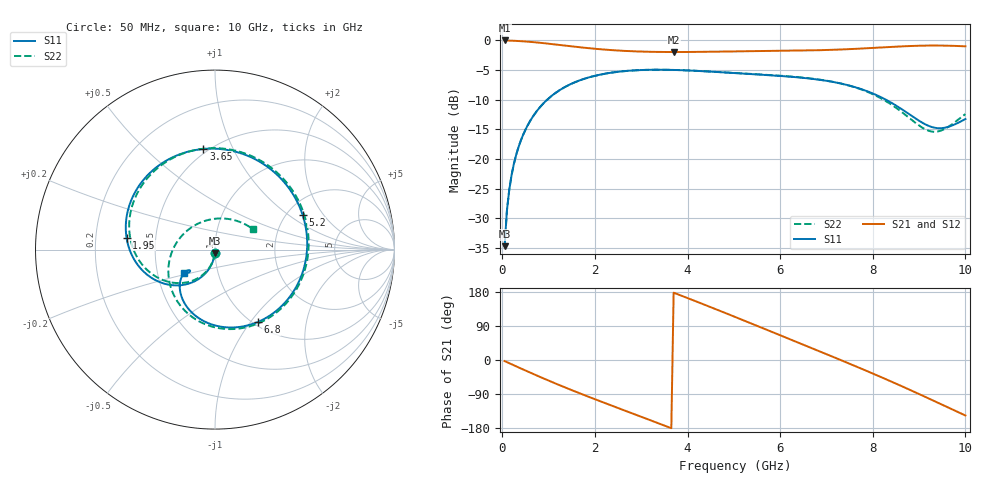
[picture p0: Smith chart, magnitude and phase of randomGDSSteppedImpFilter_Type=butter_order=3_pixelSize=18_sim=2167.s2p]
! freq	dB(S11)	phase(S11)	dB(S12)	phase(S12)
!  dB(S21)	phase(S21)	dB(S22)	phase(S22)
!S-par simulation data
#  GHz  S  DB  R 50
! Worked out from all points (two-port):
!   200 points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, 50 MHz to 10 GHz, reference 50 ohm
!   highest |S21| = 0.00 dB at 50 MHz (marker M1); lowest = -2.0 dB at 3.7 GHz (marker M2)
!   |S21| within 3 dB of the highest: start of sweep to end of sweep
!   lowest |S11| = -34.7 dB at 50 MHz (marker M3), VSWR 1.04, Z = 49.9 - j1.83 ohm
!   |S11| at or under -10 dB: start of sweep to 970.3 MHz; 8.282 GHz to end of sweep
!   |S22| runs from -34.7 to -4.9 dB; largest |S21 - S12| = 0
!   S11 on the Smith chart (normalised r, x): 50 MHz: 1.00, -0.04; 1.95 GHz: 0.34, +0.06; 3.65 GHz: 0.47, +0.77; 5.2 GHz: 2.41, +1.30; 6.8 GHz: 1.05, -1.08; 10 GHz: 0.68, -0.19
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0.05  -34.73 -92.7  -0.00 -2.8  -0.00 -2.8  -34.73 -92.9
0.1  -28.72 -95.5  -0.01 -5.6  -0.01 -5.6  -28.72 -96.0
0.2  -22.75 -101.1  -0.04 -11.2  -0.04 -11.2  -22.75 -102.0
0.5  -15.07 -117.3  -0.18 -27.7  -0.18 -27.7  -15.07 -119.3
1.1  -9.14 -147.8  -0.64 -59.5  -0.64 -59.5  -9.16 -152.4
1.75  -6.52 -178.7  -1.22 -91.6  -1.22 -91.6  -6.53 174.1
1.95  -6.06 172.3  -1.37 -101.1  -1.37 -101.1  -6.07 164.2
2.7  -5.13 139.0  -1.79 -135.9  -1.79 -135.9  -5.14 128.0
3.4  -4.94 107.9  -1.94 -168.3  -1.94 -168.3  -4.95 94.7
3.65  -4.97 96.6  -1.96 -179.9  -1.96 -179.9  -4.97 82.8
3.7  -4.98 94.3  -1.96 177.7  -1.96 177.7  -4.98 80.4
4.35  -5.20 63.8  -1.92 146.7  -1.92 146.7  -5.19 49.5
5.05  -5.52 29.3  -1.85 112.5  -1.85 112.5  -5.50 16.6
5.2  -5.60 21.7  -1.84 105.1  -1.84 105.1  -5.57 9.6
5.9  -5.94 -14.0  -1.78 70.3  -1.78 70.3  -5.90 -22.9
6.7  -6.49 -54.6  -1.68 30.4  -1.68 30.4  -6.45 -60.2
6.8  -6.59 -59.6  -1.66 25.4  -1.66 25.4  -6.55 -65.0
7.6  -7.85 -98.1  -1.43 -15.0  -1.43 -15.0  -7.88 -105.3
8.35  -10.29 -129.2  -1.11 -54.2  -1.11 -54.2  -10.57 -151.0
9.15  -14.22 -143.1  -0.87 -98.3  -0.87 -98.3  -15.07 130.5
9.55  -14.74 -139.2  -0.88 -120.9  -0.88 -120.9  -14.95 76.1
10  -13.27 -142.7  -0.99 -146.4  -0.99 -146.4  -12.43 28.8
